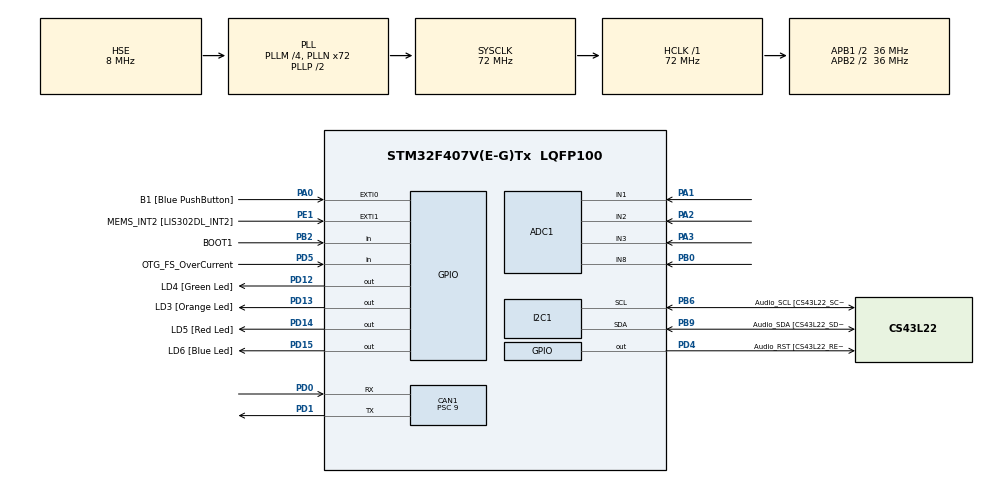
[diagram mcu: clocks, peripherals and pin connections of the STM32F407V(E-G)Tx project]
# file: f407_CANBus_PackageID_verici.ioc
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ADC1.Channel-0\#ChannelRegularConversion=ADC_CHANNEL_1
ADC1.NbrOfConversionFlag=1
ADC1.Rank-0\#ChannelRegularConversion=1
ADC1.SamplingTime-0\#ChannelRegularConversion=ADC_SAMPLETIME_3CYCLES
ADC1.master=1
CAN1.BS1=CAN_BS1_10TQ
CAN1.BS2=CAN_BS2_5TQ
CAN1.CalculateBaudRate=250000
CAN1.CalculateTimeBit=4000
CAN1.CalculateTimeQuantum=250.0
CAN1.Prescaler=9
Mcu.Family=STM32F4
Mcu.Name=STM32F407V(E-G)Tx
Mcu.Package=LQFP100
NVIC.PriorityGroup=NVIC_PRIORITYGROUP_0
PA0-WKUP.GPIO_Label=B1 [Blue PushButton]
PA0-WKUP.GPIO_ModeDefaultEXTI=GPIO_MODE_EVT_RISING
PA0-WKUP.GPIO_PuPd=GPIO_NOPULL
PA0-WKUP.Signal=GPXTI0
PA1.Signal=ADCx_IN1
PA13.GPIO_Label=SWDIO
PA13.Mode=Serial_Wire
PA13.Signal=SYS_JTMS-SWDIO
PA14.GPIO_Label=SWCLK
PA14.Mode=Serial_Wire
PA14.Signal=SYS_JTCK-SWCLK
PA2.Signal=ADCx_IN2
PA3.Signal=ADCx_IN3
PB0.Signal=ADCx_IN8
PB2.GPIO_Label=BOOT1
PB2.GPIO_Mode=GPIO_MODE_INPUT
PB2.GPIO_PuPd=GPIO_NOPULL
PB2.Signal=GPIO_Input
PB6.GPIO_Label=Audio_SCL [CS43L22_SCL]
PB6.GPIO_Mode=GPIO_MODE_AF_OD
PB6.GPIO_Pu=GPIO_PULLUP
PB6.GPIO_PuPd=GPIO_NOPULL
PB6.GPIO_Speed=GPIO_SPEED_FREQ_LOW
PB6.Mode=I2C
PB6.Signal=I2C1_SCL
PB9.GPIO_Label=Audio_SDA [CS43L22_SDA]
PB9.GPIO_Mode=GPIO_MODE_AF_OD
PB9.GPIO_Pu=GPIO_PULLUP
PB9.GPIO_PuPd=GPIO_NOPULL
PB9.GPIO_Speed=GPIO_SPEED_FREQ_LOW
PB9.Mode=I2C
PB9.Signal=I2C1_SDA
PD0.Mode=CAN_Activate
PD0.Signal=CAN1_RX
PD1.Mode=CAN_Activate
PD1.Signal=CAN1_TX
PD12.GPIO_Label=LD4 [Green Led]
PD12.GPIO_PuPd=GPIO_NOPULL
PD12.GPIO_Speed=GPIO_SPEED_FREQ_LOW
PD12.Signal=GPIO_Output
PD13.GPIO_Label=LD3 [Orange Led]
PD13.GPIO_PuPd=GPIO_NOPULL
PD13.GPIO_Speed=GPIO_SPEED_FREQ_LOW
PD13.Signal=GPIO_Output
PD14.GPIO_Label=LD5 [Red Led]
PD14.GPIO_PuPd=GPIO_NOPULL
PD14.GPIO_Speed=GPIO_SPEED_FREQ_LOW
PD14.Signal=GPIO_Output
PD15.GPIO_Label=LD6 [Blue Led]
PD15.GPIO_PuPd=GPIO_NOPULL
PD15.GPIO_Speed=GPIO_SPEED_FREQ_LOW
PD15.Signal=GPIO_Output
PD4.GPIO_Label=Audio_RST [CS43L22_RESET]
PD4.GPIO_PuPd=GPIO_NOPULL
PD4.GPIO_Speed=GPIO_SPEED_FREQ_LOW
PD4.Signal=GPIO_Output
PD5.GPIO_Label=OTG_FS_OverCurrent
PD5.GPIO_Mode=GPIO_MODE_INPUT
PD5.GPIO_PuPd=GPIO_NOPULL
PD5.Signal=GPIO_Input
PE1.GPIO_Label=MEMS_INT2 [LIS302DL_INT2]
PE1.GPIO_ModeDefaultEXTI=GPIO_MODE_EVT_RISING
PE1.GPIO_PuPd=GPIO_NOPULL
PE1.Signal=GPXTI1
PH0-OSC_IN.GPIO_Label=PH0-OSC_IN
PH0-OSC_IN.Mode=HSE-External-Oscillator
PH0-OSC_IN.Signal=RCC_OSC_IN
PH1-OSC_OUT.GPIO_Label=PH1-OSC_OUT
PH1-OSC_OUT.Mode=HSE-External-Oscillator
PH1-OSC_OUT.Signal=RCC_OSC_OUT
ProjectManager.HeapSize=0x200
ProjectManager.StackSize=0x400
ProjectManager.TargetToolchain=STM32CubeIDE
RCC.48MHZClocksFreq_Value=48000000
RCC.AHBFreq_Value=72000000
RCC.APB1CLKDivider=RCC_HCLK_DIV2
RCC.APB1Freq_Value=36000000
RCC.APB1TimFreq_Value=72000000
RCC.APB2CLKDivider=RCC_HCLK_DIV2
RCC.APB2Freq_Value=36000000
RCC.APB2TimFreq_Value=72000000
RCC.CortexFreq_Value=72000000
RCC.HCLKFreq_Value=72000000
RCC.HSE_VALUE=8000000
RCC.HSI_VALUE=16000000
RCC.PLLI2SN=50
RCC.PLLM=4
RCC.PLLN=72
RCC.PLLQ=3
RCC.PLLSourceVirtual=RCC_PLLSOURCE_HSE
RCC.SYSCLKFreq_VALUE=72000000
RCC.SYSCLKSource=RCC_SYSCLKSOURCE_PLLCLK
RCC.VCOOutputFreq_Value=144000000
SH.ADCx_IN1.0=ADC1_IN1,IN1
SH.ADCx_IN2.0=ADC1_IN2,IN2
SH.ADCx_IN3.0=ADC1_IN3,IN3
SH.ADCx_IN8.0=ADC1_IN8,IN8
board=STM32F407G-DISC1

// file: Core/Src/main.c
/* USER CODE BEGIN Header */
/**
  ******************************************************************************
  * @file           : main.c
  * @brief          : Main program body
  ******************************************************************************
  * @attention
  *
  * Copyright (c) 2024 STMicroelectronics.
  * All rights reserved.
  *
  * This software is licensed under terms that can be found in the LICENSE file
  * in the root directory of this software component.
  * If no LICENSE file comes with this software, it is provided AS-IS.
  *
  ******************************************************************************
  */
/* USER CODE END Header */
#include "main.h"

/* USER CODE BEGIN Includes */
#include "math.h"

/* USER CODE END Includes */

ADC_HandleTypeDef hadc1;

CAN_HandleTypeDef hcan1;

I2C_HandleTypeDef hi2c1;

/* USER CODE BEGIN PV */
uint32_t TxMailbox;
float sayi;
int virgulOncesi;
int virgulSonrasi;
int analog1;
int analog2;
int analog3;
int analog4;

float temp1;
float temp2;
float temp3;
float temp4;
float temp5;
float temp6;
float temp7;
float temp8;

float tempPackage1[8];
uint8_t tempPackage1_msb[8];
uint8_t tempPackage1_lsb[8];

/* USER CODE END PV */

void SystemClock_Config(void);
static void MX_GPIO_Init(void);
static void MX_I2C1_Init(void);
static void MX_ADC1_Init(void);
static void MX_CAN1_Init(void);
/* USER CODE BEGIN PFP */
double Thermistor(int analogValue){

	 double temperature;
	 temperature=log(((40950000/analogValue)-10000));

	 temperature = 1 / (0.001129148 + (0.000234125 + (0.0000000876741 * temperature * temperature)) * temperature);
	 temperature = temperature - 273.15;
	 return temperature;
}
uint8_t def_msb(float value){
	virgulOncesi = (int)value; // Virgül öncesi kısmı almak için sayının tam kısmını elde ediyoruz
	return virgulOncesi;
}
uint8_t def_lsb(float value){
	virgulOncesi = (int)value; // Virgül öncesi kısmı almak için sayının tam kısmını elde ediyoruz
	virgulSonrasi = (int)((value - virgulOncesi) * 100); // Virgül sonrası kısmını elde etmek için float değerinden virgül öncesi kısmını çıkarıp 1000 ile çarpmak yeterlidir
	return virgulSonrasi;
}

/* USER CODE END PFP */

/* USER CODE BEGIN 0 */
CAN_TxHeaderTypeDef TxHeader;

/* USER CODE END 0 */

int main(void)
{

  /* MCU Configuration--------------------------------------------------------*/

  /* Reset of all peripherals, Initializes the Flash interface and the Systick. */
  HAL_Init();

  /* Configure the system clock */
  SystemClock_Config();

  /* Initialize all configured peripherals */
  MX_GPIO_Init();
  MX_I2C1_Init();
  MX_ADC1_Init();
  MX_CAN1_Init();
  /* USER CODE BEGIN 2 */
  HAL_CAN_Start(&hcan1);
  TxHeader.DLC = 8;
  TxHeader.IDE = CAN_ID_STD;
  TxHeader.RTR = CAN_RTR_DATA;
  TxHeader.StdId = 0x103;
  ADC_ChannelConfTypeDef sConfig = {0};
  /* USER CODE END 2 */

  /* Infinite loop */
  while (1)
  {

    /* USER CODE BEGIN 3 */
	sConfig.Channel = ADC_CHANNEL_1;
    sConfig.Rank = 1;
    sConfig.SamplingTime = ADC_SAMPLETIME_3CYCLES;
    HAL_ADC_ConfigChannel(&hadc1, &sConfig);

    HAL_ADC_Start(&hadc1);
    analog1 = HAL_ADC_GetValue(&hadc1);
    temp1 = Thermistor(analog1);
    temp5 = temp1;
    HAL_ADC_Stop(&hadc1);

    sConfig.Channel = ADC_CHANNEL_2;
    sConfig.Rank = 1;
    sConfig.SamplingTime = ADC_SAMPLETIME_3CYCLES;
    HAL_ADC_ConfigChannel(&hadc1, &sConfig);

    HAL_ADC_Start(&hadc1);
    analog2 = HAL_ADC_GetValue(&hadc1);
    temp2 = Thermistor(analog2);
    temp6 = temp2;
    HAL_ADC_Stop(&hadc1);

    sConfig.Channel = ADC_CHANNEL_3;
    sConfig.Rank = 1;
    sConfig.SamplingTime = ADC_SAMPLETIME_3CYCLES;
    HAL_ADC_ConfigChannel(&hadc1, &sConfig);

    HAL_ADC_Start(&hadc1);
    analog3 = HAL_ADC_GetValue(&hadc1);
    temp3 = Thermistor(analog3);
    temp7 = temp3;
    HAL_ADC_Stop(&hadc1);

    sConfig.Channel = ADC_CHANNEL_8;
    sConfig.Rank = 1;
    sConfig.SamplingTime = ADC_SAMPLETIME_3CYCLES;
    HAL_ADC_ConfigChannel(&hadc1, &sConfig);

    HAL_ADC_Start(&hadc1);
    analog4 = HAL_ADC_GetValue(&hadc1);
    temp4 = Thermistor(analog4);
    temp8 = temp4;
    HAL_ADC_Stop(&hadc1);

    tempPackage1[0] = temp1;
    tempPackage1[1] = temp2;
    tempPackage1[2] = temp3;
    tempPackage1[3] = temp4;
    tempPackage1[4] = temp5;
    tempPackage1[5] = temp6;
    tempPackage1[6] = temp7;
    tempPackage1[7] = temp8;
    tempPackage1_msb[0] = 254;
    tempPackage1_lsb[0] = 250;
    for(int i =1;i<8;i++ ){
    	tempPackage1_msb[i] = def_msb(tempPackage1[i]);
    	tempPackage1_lsb[i] = def_lsb(tempPackage1[i]);
    }
    HAL_CAN_AddTxMessage(&hcan1, &TxHeader, tempPackage1_msb, &TxMailbox);
	HAL_Delay(50);
	HAL_CAN_AddTxMessage(&hcan1, &TxHeader, tempPackage1_lsb, &TxMailbox);
		HAL_Delay(50);

  }
  /* USER CODE END 3 */
}

void SystemClock_Config(void)
{
  RCC_OscInitTypeDef RCC_OscInitStruct = {0};
  RCC_ClkInitTypeDef RCC_ClkInitStruct = {0};

  /** Configure the main internal regulator output voltage
  */
  __HAL_RCC_PWR_CLK_ENABLE();
  __HAL_PWR_VOLTAGESCALING_CONFIG(PWR_REGULATOR_VOLTAGE_SCALE1);

  /** Initializes the RCC Oscillators according to the specified parameters
  * in the RCC_OscInitTypeDef structure.
  */
  RCC_OscInitStruct.OscillatorType = RCC_OSCILLATORTYPE_HSE;
  RCC_OscInitStruct.HSEState = RCC_HSE_ON;
  RCC_OscInitStruct.PLL.PLLState = RCC_PLL_ON;
  RCC_OscInitStruct.PLL.PLLSource = RCC_PLLSOURCE_HSE;
  RCC_OscInitStruct.PLL.PLLM = 4;
  RCC_OscInitStruct.PLL.PLLN = 72;
  RCC_OscInitStruct.PLL.PLLP = RCC_PLLP_DIV2;
  RCC_OscInitStruct.PLL.PLLQ = 3;
  if (HAL_RCC_OscConfig(&RCC_OscInitStruct) != HAL_OK)
  {
    Error_Handler();
  }

  /** Initializes the CPU, AHB and APB buses clocks
  */
  RCC_ClkInitStruct.ClockType = RCC_CLOCKTYPE_HCLK|RCC_CLOCKTYPE_SYSCLK
                              |RCC_CLOCKTYPE_PCLK1|RCC_CLOCKTYPE_PCLK2;
  RCC_ClkInitStruct.SYSCLKSource = RCC_SYSCLKSOURCE_PLLCLK;
  RCC_ClkInitStruct.AHBCLKDivider = RCC_SYSCLK_DIV1;
  RCC_ClkInitStruct.APB1CLKDivider = RCC_HCLK_DIV2;
  RCC_ClkInitStruct.APB2CLKDivider = RCC_HCLK_DIV2;

  if (HAL_RCC_ClockConfig(&RCC_ClkInitStruct, FLASH_LATENCY_2) != HAL_OK)
  {
    Error_Handler();
  }
}

static void MX_ADC1_Init(void)
{

  ADC_ChannelConfTypeDef sConfig = {0};

  /** Configure the global features of the ADC (Clock, Resolution, Data Alignment and number of conversion)
  */
  hadc1.Instance = ADC1;
  hadc1.Init.ClockPrescaler = ADC_CLOCK_SYNC_PCLK_DIV2;
  hadc1.Init.Resolution = ADC_RESOLUTION_12B;
  hadc1.Init.ScanConvMode = DISABLE;
  hadc1.Init.ContinuousConvMode = DISABLE;
  hadc1.Init.DiscontinuousConvMode = DISABLE;
  hadc1.Init.ExternalTrigConvEdge = ADC_EXTERNALTRIGCONVEDGE_NONE;
  hadc1.Init.ExternalTrigConv = ADC_SOFTWARE_START;
  hadc1.Init.DataAlign = ADC_DATAALIGN_RIGHT;
  hadc1.Init.NbrOfConversion = 1;
  hadc1.Init.DMAContinuousRequests = DISABLE;
  hadc1.Init.EOCSelection = ADC_EOC_SINGLE_CONV;
  if (HAL_ADC_Init(&hadc1) != HAL_OK)
  {
    Error_Handler();
  }

  /** Configure for the selected ADC regular channel its corresponding rank in the sequencer and its sample time.
  */
  sConfig.Channel = ADC_CHANNEL_1;
  sConfig.Rank = 1;
  sConfig.SamplingTime = ADC_SAMPLETIME_3CYCLES;
  if (HAL_ADC_ConfigChannel(&hadc1, &sConfig) != HAL_OK)
  {
    Error_Handler();
  }

}

static void MX_CAN1_Init(void)
{

  hcan1.Instance = CAN1;
  hcan1.Init.Prescaler = 9;
  hcan1.Init.Mode = CAN_MODE_NORMAL;
  hcan1.Init.SyncJumpWidth = CAN_SJW_1TQ;
  hcan1.Init.TimeSeg1 = CAN_BS1_10TQ;
  hcan1.Init.TimeSeg2 = CAN_BS2_5TQ;
  hcan1.Init.TimeTriggeredMode = DISABLE;
  hcan1.Init.AutoBusOff = DISABLE;
  hcan1.Init.AutoWakeUp = DISABLE;
  hcan1.Init.AutoRetransmission = DISABLE;
  hcan1.Init.ReceiveFifoLocked = DISABLE;
  hcan1.Init.TransmitFifoPriority = DISABLE;
  if (HAL_CAN_Init(&hcan1) != HAL_OK)
  {
    Error_Handler();
  }
  /* USER CODE BEGIN CAN1_Init 2 */
  CAN_FilterTypeDef canfilterconfig;

  canfilterconfig.FilterActivation = CAN_FILTER_ENABLE;
  canfilterconfig.FilterBank = 10;  // which filter bank to use from the assigned ones
  canfilterconfig.FilterFIFOAssignment = CAN_FILTER_FIFO0;
  canfilterconfig.FilterIdHigh = 0x000<<5;
  canfilterconfig.FilterIdLow = 0;
  canfilterconfig.FilterMaskIdHigh = 0x000<<5;
  canfilterconfig.FilterMaskIdLow = 0x0000;
  canfilterconfig.FilterMode = CAN_FILTERMODE_IDMASK;
  canfilterconfig.FilterScale = CAN_FILTERSCALE_32BIT;
  canfilterconfig.SlaveStartFilterBank = 13;  // how many filters to assign to the CAN1 (master can)

  HAL_CAN_ConfigFilter(&hcan1, &canfilterconfig);

  /* USER CODE END CAN1_Init 2 */

}

static void MX_I2C1_Init(void)
{

  hi2c1.Instance = I2C1;
  hi2c1.Init.ClockSpeed = 100000;
  hi2c1.Init.DutyCycle = I2C_DUTYCYCLE_2;
  hi2c1.Init.OwnAddress1 = 0;
  hi2c1.Init.AddressingMode = I2C_ADDRESSINGMODE_7BIT;
  hi2c1.Init.DualAddressMode = I2C_DUALADDRESS_DISABLE;
  hi2c1.Init.OwnAddress2 = 0;
  hi2c1.Init.GeneralCallMode = I2C_GENERALCALL_DISABLE;
  hi2c1.Init.NoStretchMode = I2C_NOSTRETCH_DISABLE;
  if (HAL_I2C_Init(&hi2c1) != HAL_OK)
  {
    Error_Handler();
  }

}

static void MX_GPIO_Init(void)
{
  GPIO_InitTypeDef GPIO_InitStruct = {0};

  /* GPIO Ports Clock Enable */
  __HAL_RCC_GPIOH_CLK_ENABLE();
  __HAL_RCC_GPIOA_CLK_ENABLE();
  __HAL_RCC_GPIOB_CLK_ENABLE();
  __HAL_RCC_GPIOD_CLK_ENABLE();
  __HAL_RCC_GPIOE_CLK_ENABLE();

  /*Configure GPIO pin Output Level */
  HAL_GPIO_WritePin(GPIOD, LD4_Pin|LD3_Pin|LD5_Pin|LD6_Pin
                          |Audio_RST_Pin, GPIO_PIN_RESET);

  /*Configure GPIO pin : B1_Pin */
  GPIO_InitStruct.Pin = B1_Pin;
  GPIO_InitStruct.Mode = GPIO_MODE_EVT_RISING;
  GPIO_InitStruct.Pull = GPIO_NOPULL;
  HAL_GPIO_Init(B1_GPIO_Port, &GPIO_InitStruct);

  /*Configure GPIO pin : BOOT1_Pin */
  GPIO_InitStruct.Pin = BOOT1_Pin;
  GPIO_InitStruct.Mode = GPIO_MODE_INPUT;
  GPIO_InitStruct.Pull = GPIO_NOPULL;
  HAL_GPIO_Init(BOOT1_GPIO_Port, &GPIO_InitStruct);

  /*Configure GPIO pins : LD4_Pin LD3_Pin LD5_Pin LD6_Pin
                           Audio_RST_Pin */
  GPIO_InitStruct.Pin = LD4_Pin|LD3_Pin|LD5_Pin|LD6_Pin
                          |Audio_RST_Pin;
  GPIO_InitStruct.Mode = GPIO_MODE_OUTPUT_PP;
  GPIO_InitStruct.Pull = GPIO_NOPULL;
  GPIO_InitStruct.Speed = GPIO_SPEED_FREQ_LOW;
  HAL_GPIO_Init(GPIOD, &GPIO_InitStruct);

  /*Configure GPIO pin : OTG_FS_OverCurrent_Pin */
  GPIO_InitStruct.Pin = OTG_FS_OverCurrent_Pin;
  GPIO_InitStruct.Mode = GPIO_MODE_INPUT;
  GPIO_InitStruct.Pull = GPIO_NOPULL;
  HAL_GPIO_Init(OTG_FS_OverCurrent_GPIO_Port, &GPIO_InitStruct);

  /*Configure GPIO pin : MEMS_INT2_Pin */
  GPIO_InitStruct.Pin = MEMS_INT2_Pin;
  GPIO_InitStruct.Mode = GPIO_MODE_EVT_RISING;
  GPIO_InitStruct.Pull = GPIO_NOPULL;
  HAL_GPIO_Init(MEMS_INT2_GPIO_Port, &GPIO_InitStruct);

}

void Error_Handler(void)
{
  __disable_irq();
  while (1)
  {
  }
}
